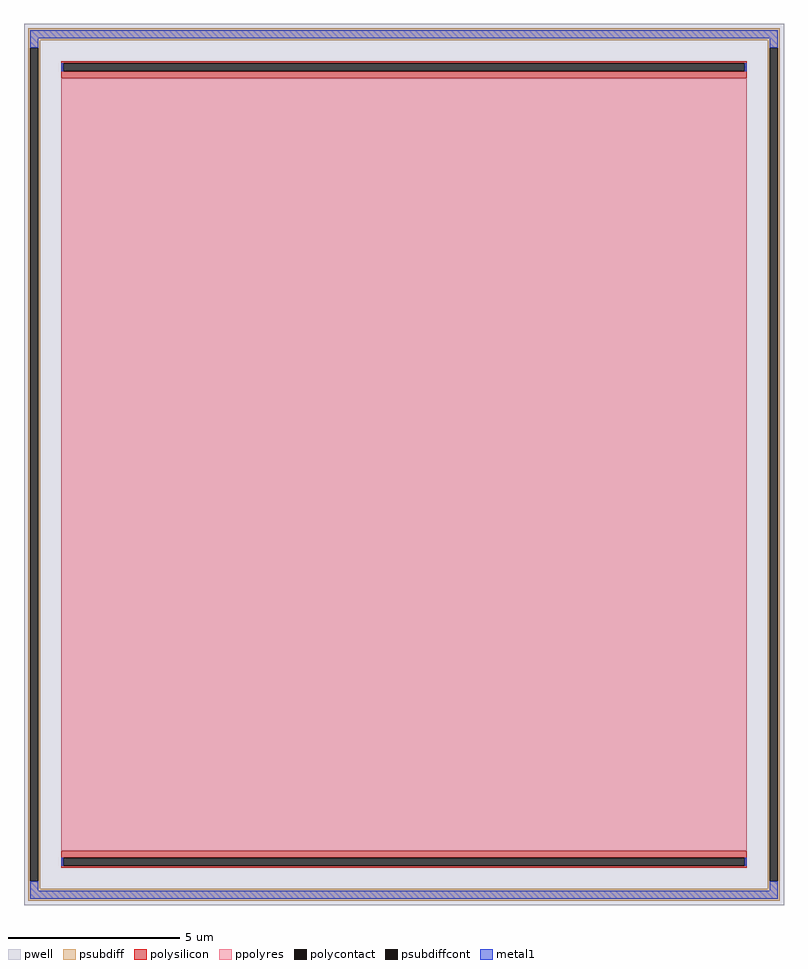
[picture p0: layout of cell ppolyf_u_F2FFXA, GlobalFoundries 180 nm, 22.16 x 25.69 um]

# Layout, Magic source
magic
tech gf180mcuD
magscale 1 10
<< pwell >>
rect -2216 -2569 2216 2569
<< psubdiff >>
rect -2192 2473 2192 2545
rect -2192 2429 -2120 2473
rect -2192 -2429 -2179 2429
rect -2133 -2429 -2120 2429
rect 2120 2429 2192 2473
rect -2192 -2473 -2120 -2429
rect 2120 -2429 2133 2429
rect 2179 -2429 2192 2429
rect 2120 -2473 2192 -2429
rect -2192 -2545 2192 -2473
<< psubdiffcont >>
rect -2179 -2429 -2133 2429
rect 2133 -2429 2179 2429
<< polysilicon >>
rect -2000 2340 2000 2353
rect -2000 2294 -1987 2340
rect 1987 2294 2000 2340
rect -2000 2251 2000 2294
rect -2000 -2294 2000 -2251
rect -2000 -2340 -1987 -2294
rect 1987 -2340 2000 -2294
rect -2000 -2353 2000 -2340
<< polycontact >>
rect -1987 2294 1987 2340
rect -1987 -2340 1987 -2294
<< ppolyres >>
rect -2000 -2251 2000 2251
<< metal1 >>
rect -2179 2486 2179 2532
rect -2179 2429 -2133 2486
rect 2133 2429 2179 2486
rect -1998 2294 -1987 2340
rect 1987 2294 1998 2340
rect -1998 -2340 -1987 -2294
rect 1987 -2340 1998 -2294
rect -2179 -2486 -2133 -2429
rect 2133 -2486 2179 -2429
rect -2179 -2532 2179 -2486
<< properties >>
string FIXED_BBOX -2156 -2509 2156 2509
string gencell ppolyf_u
string library gf180mcu
string parameters w 20.0 l 22.514 m 1 nx 1 wmin 0.80 lmin 1.00 class resistor rho 315 val 355.608 dummy 0 dw 0.057 term 0.0 sterm 0.0 caplen 0.4 snake 0 guard 1 guard_type pwell glc 1 grc 1 gtc 0 gbc 0 roverlap 0 endcov 100 full_metal 1
<< end >>
